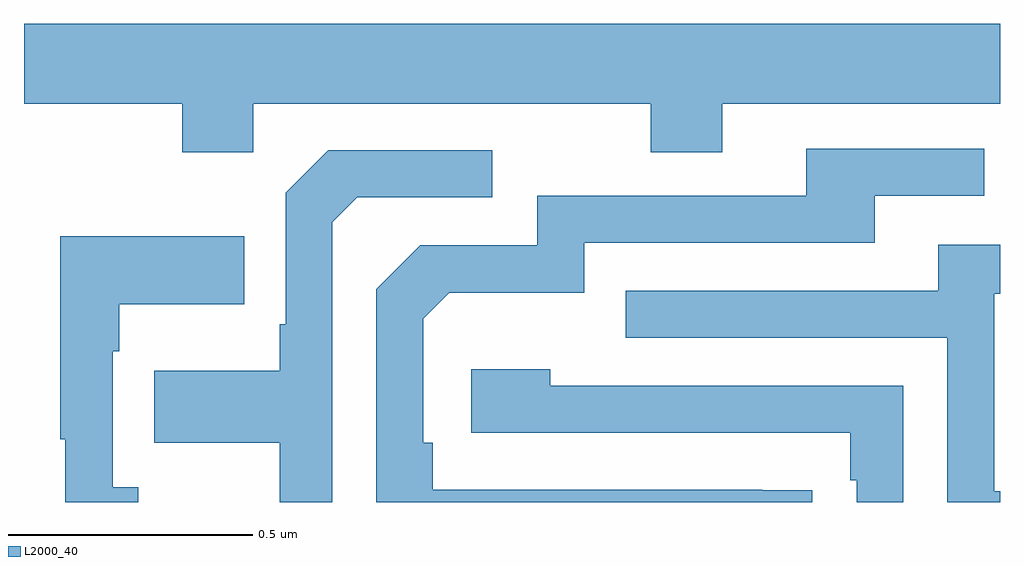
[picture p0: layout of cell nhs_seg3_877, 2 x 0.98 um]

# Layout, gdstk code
import gdstk
lib = gdstk.Library(unit=1e-6, precision=1e-09)
def P(c, l, *ps):  # polygons
    for p in ps: c.add(gdstk.Polygon(p, *l))
L2000_40 = (2000, 40)

nhs_seg3_877 = lib.new_cell('nhs_seg3_877')
P(nhs_seg3_877, L2000_40, [(121.47,734.216),(122.284,734.216),(122.284,734.117),(122.431,734.117),(122.431,734.216),(123,734.216),(123,734.38),(121,734.38),(121,734.216),(121.324,734.216),(121.324,734.117),(121.47,734.117)],
  [(122.615,733.424),(122.513,733.424),(122.513,733.425),(121.838,733.425),(121.838,733.522),(121.818,733.522),(121.818,733.776),(121.871,733.829),(122.148,733.829),(122.148,733.932),(122.743,733.932),(122.743,734.028),(122.968,734.028),(122.968,734.124),(122.603,734.124),(122.603,734.028),(122.052,734.028),(122.052,733.926),(121.812,733.926),(121.722,733.836),(121.722,733.4),(122.615,733.4)],
  [(121.632,733.974),(121.683,734.025),(121.96,734.025),(121.96,734.121),(121.623,734.121),(121.536,734.034),(121.536,733.765),(121.524,733.765),(121.524,733.669),(121.267,733.669),(121.267,733.522),(121.524,733.522),(121.524,733.4),(121.632,733.4)],
  [(121.234,733.43),(121.182,733.43),(121.182,733.709),(121.195,733.709),(121.195,733.805),(121.451,733.805),(121.451,733.945),(121.074,733.945),(121.074,733.529),(121.085,733.529),(121.085,733.4),(121.234,733.4)],
  [(123,733.422),(122.988,733.422),(122.988,733.827),(123,733.827),(123,733.927),(122.873,733.927),(122.873,733.833),(122.233,733.833),(122.233,733.737),(122.892,733.737),(122.892,733.4),(123,733.4)],
  [(122.802,733.638),(122.078,733.638),(122.078,733.672),(121.917,733.672),(121.917,733.542),(122.693,733.542),(122.693,733.445),(122.706,733.445),(122.706,733.4),(122.802,733.4)])

lib.write_gds('nhs_seg3_877.gds')
